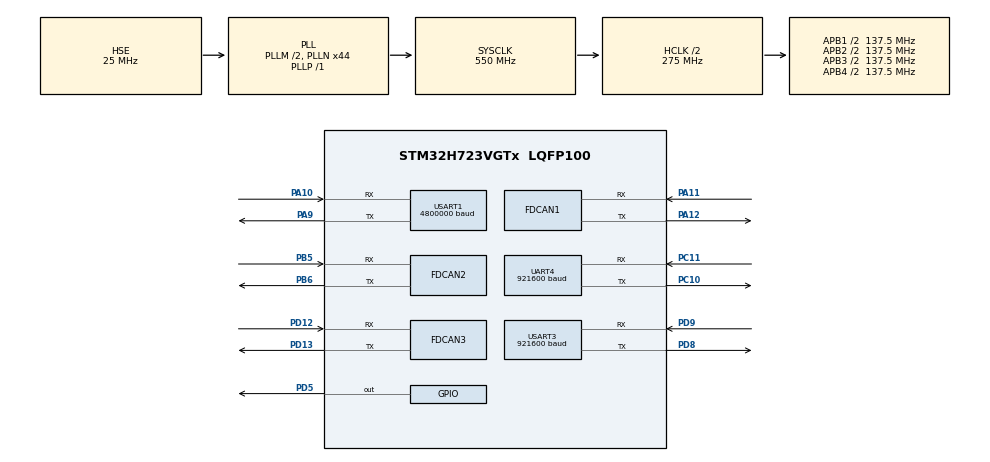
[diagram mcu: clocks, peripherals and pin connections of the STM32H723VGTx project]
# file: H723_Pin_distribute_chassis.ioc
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Dma.Request0=USART3_RX
Dma.Request1=USART3_TX
Dma.Request2=UART4_RX
Dma.Request3=UART4_TX
Dma.Request4=USART1_RX
Dma.Request5=USART1_TX
Dma.UART4_RX.2.Direction=DMA_PERIPH_TO_MEMORY
Dma.UART4_RX.2.EventEnable=DISABLE
Dma.UART4_RX.2.FIFOMode=DMA_FIFOMODE_DISABLE
Dma.UART4_RX.2.Instance=DMA2_Stream0
Dma.UART4_RX.2.MemDataAlignment=DMA_MDATAALIGN_BYTE
Dma.UART4_RX.2.MemInc=DMA_MINC_ENABLE
Dma.UART4_RX.2.Mode=DMA_NORMAL
Dma.UART4_RX.2.PeriphDataAlignment=DMA_PDATAALIGN_BYTE
Dma.UART4_RX.2.PeriphInc=DMA_PINC_DISABLE
Dma.UART4_RX.2.Polarity=HAL_DMAMUX_REQ_GEN_RISING
Dma.UART4_RX.2.Priority=DMA_PRIORITY_LOW
Dma.UART4_RX.2.RequestNumber=1
Dma.UART4_RX.2.SignalID=NONE
Dma.UART4_RX.2.SyncEnable=DISABLE
Dma.UART4_RX.2.SyncPolarity=HAL_DMAMUX_SYNC_NO_EVENT
Dma.UART4_RX.2.SyncRequestNumber=1
Dma.UART4_RX.2.SyncSignalID=NONE
Dma.UART4_TX.3.Direction=DMA_MEMORY_TO_PERIPH
Dma.UART4_TX.3.EventEnable=DISABLE
Dma.UART4_TX.3.FIFOMode=DMA_FIFOMODE_DISABLE
Dma.UART4_TX.3.Instance=DMA2_Stream1
Dma.UART4_TX.3.MemDataAlignment=DMA_MDATAALIGN_BYTE
Dma.UART4_TX.3.MemInc=DMA_MINC_ENABLE
Dma.UART4_TX.3.Mode=DMA_NORMAL
Dma.UART4_TX.3.PeriphDataAlignment=DMA_PDATAALIGN_BYTE
Dma.UART4_TX.3.PeriphInc=DMA_PINC_DISABLE
Dma.UART4_TX.3.Polarity=HAL_DMAMUX_REQ_GEN_RISING
Dma.UART4_TX.3.Priority=DMA_PRIORITY_LOW
Dma.UART4_TX.3.RequestNumber=1
Dma.UART4_TX.3.SignalID=NONE
Dma.UART4_TX.3.SyncEnable=DISABLE
Dma.UART4_TX.3.SyncPolarity=HAL_DMAMUX_SYNC_NO_EVENT
Dma.UART4_TX.3.SyncRequestNumber=1
Dma.UART4_TX.3.SyncSignalID=NONE
Dma.USART1_RX.4.Direction=DMA_PERIPH_TO_MEMORY
Dma.USART1_RX.4.EventEnable=DISABLE
Dma.USART1_RX.4.FIFOMode=DMA_FIFOMODE_DISABLE
Dma.USART1_RX.4.Instance=DMA1_Stream4
Dma.USART1_RX.4.MemDataAlignment=DMA_MDATAALIGN_BYTE
Dma.USART1_RX.4.MemInc=DMA_MINC_ENABLE
Dma.USART1_RX.4.Mode=DMA_NORMAL
Dma.USART1_RX.4.PeriphDataAlignment=DMA_PDATAALIGN_BYTE
Dma.USART1_RX.4.PeriphInc=DMA_PINC_DISABLE
Dma.USART1_RX.4.Polarity=HAL_DMAMUX_REQ_GEN_RISING
Dma.USART1_RX.4.Priority=DMA_PRIORITY_VERY_HIGH
Dma.USART1_RX.4.RequestNumber=1
Dma.USART1_RX.4.SignalID=NONE
Dma.USART1_RX.4.SyncEnable=DISABLE
Dma.USART1_RX.4.SyncPolarity=HAL_DMAMUX_SYNC_NO_EVENT
Dma.USART1_RX.4.SyncRequestNumber=1
Dma.USART1_RX.4.SyncSignalID=NONE
Dma.USART1_TX.5.Direction=DMA_MEMORY_TO_PERIPH
Dma.USART1_TX.5.EventEnable=DISABLE
Dma.USART1_TX.5.FIFOMode=DMA_FIFOMODE_DISABLE
Dma.USART1_TX.5.Instance=DMA1_Stream5
Dma.USART1_TX.5.MemDataAlignment=DMA_MDATAALIGN_BYTE
Dma.USART1_TX.5.MemInc=DMA_MINC_ENABLE
Dma.USART1_TX.5.Mode=DMA_NORMAL
Dma.USART1_TX.5.PeriphDataAlignment=DMA_PDATAALIGN_BYTE
Dma.USART1_TX.5.PeriphInc=DMA_PINC_DISABLE
Dma.USART1_TX.5.Polarity=HAL_DMAMUX_REQ_GEN_RISING
Dma.USART1_TX.5.Priority=DMA_PRIORITY_VERY_HIGH
Dma.USART1_TX.5.RequestNumber=1
Dma.USART1_TX.5.SignalID=NONE
Dma.USART1_TX.5.SyncEnable=DISABLE
Dma.USART1_TX.5.SyncPolarity=HAL_DMAMUX_SYNC_NO_EVENT
Dma.USART1_TX.5.SyncRequestNumber=1
Dma.USART1_TX.5.SyncSignalID=NONE
Dma.USART3_RX.0.Direction=DMA_PERIPH_TO_MEMORY
Dma.USART3_RX.0.EventEnable=DISABLE
Dma.USART3_RX.0.FIFOMode=DMA_FIFOMODE_DISABLE
Dma.USART3_RX.0.Instance=DMA1_Stream0
Dma.USART3_RX.0.MemDataAlignment=DMA_MDATAALIGN_BYTE
Dma.USART3_RX.0.MemInc=DMA_MINC_ENABLE
Dma.USART3_RX.0.Mode=DMA_NORMAL
Dma.USART3_RX.0.PeriphDataAlignment=DMA_PDATAALIGN_BYTE
Dma.USART3_RX.0.PeriphInc=DMA_PINC_DISABLE
Dma.USART3_RX.0.Polarity=HAL_DMAMUX_REQ_GEN_RISING
Dma.USART3_RX.0.Priority=DMA_PRIORITY_LOW
Dma.USART3_RX.0.RequestNumber=1
Dma.USART3_RX.0.SignalID=NONE
Dma.USART3_RX.0.SyncEnable=DISABLE
Dma.USART3_RX.0.SyncPolarity=HAL_DMAMUX_SYNC_NO_EVENT
Dma.USART3_RX.0.SyncRequestNumber=1
Dma.USART3_RX.0.SyncSignalID=NONE
Dma.USART3_TX.1.Direction=DMA_MEMORY_TO_PERIPH
Dma.USART3_TX.1.EventEnable=DISABLE
Dma.USART3_TX.1.FIFOMode=DMA_FIFOMODE_DISABLE
Dma.USART3_TX.1.Instance=DMA1_Stream1
Dma.USART3_TX.1.MemDataAlignment=DMA_MDATAALIGN_BYTE
Dma.USART3_TX.1.MemInc=DMA_MINC_ENABLE
Dma.USART3_TX.1.Mode=DMA_NORMAL
Dma.USART3_TX.1.PeriphDataAlignment=DMA_PDATAALIGN_BYTE
Dma.USART3_TX.1.PeriphInc=DMA_PINC_DISABLE
Dma.USART3_TX.1.Polarity=HAL_DMAMUX_REQ_GEN_RISING
Dma.USART3_TX.1.Priority=DMA_PRIORITY_LOW
Dma.USART3_TX.1.RequestNumber=1
Dma.USART3_TX.1.SignalID=NONE
Dma.USART3_TX.1.SyncEnable=DISABLE
Dma.USART3_TX.1.SyncPolarity=HAL_DMAMUX_SYNC_NO_EVENT
Dma.USART3_TX.1.SyncRequestNumber=1
Dma.USART3_TX.1.SyncSignalID=NONE
FDCAN1.AutoRetransmission=ENABLE
FDCAN1.CalculateBaudRateNominal=1000000
FDCAN1.CalculateTimeBitNominal=1000
FDCAN1.CalculateTimeQuantumNominal=40.0
FDCAN1.DataPrescaler=1
FDCAN1.DataSyncJumpWidth=6
FDCAN1.DataTimeSeg1=18
FDCAN1.DataTimeSeg2=6
FDCAN1.Mode=FDCAN_MODE_NORMAL
FDCAN1.NominalPrescaler=1
FDCAN1.NominalSyncJumpWidth=6
FDCAN1.NominalTimeSeg1=18
FDCAN1.NominalTimeSeg2=6
FDCAN1.RxFifo0ElmtsNbr=4
FDCAN1.StdFiltersNbr=1
FDCAN1.TxBuffersNbr=16
FDCAN1.TxFifoQueueElmtsNbr=16
FDCAN2.AutoRetransmission=ENABLE
FDCAN2.CalculateBaudRateNominal=1000000
FDCAN2.CalculateTimeBitNominal=1000
FDCAN2.CalculateTimeQuantumNominal=40.0
FDCAN2.DataSyncJumpWidth=6
FDCAN2.DataTimeSeg1=18
FDCAN2.DataTimeSeg2=6
FDCAN2.MessageRAMOffset=800
FDCAN2.NominalPrescaler=1
FDCAN2.NominalSyncJumpWidth=6
FDCAN2.NominalTimeSeg1=18
FDCAN2.NominalTimeSeg2=6
FDCAN2.RxFifo0ElmtsNbr=4
FDCAN2.StdFiltersNbr=1
FDCAN2.TxBuffersNbr=16
FDCAN2.TxFifoQueueElmtsNbr=16
FDCAN3.AutoRetransmission=DISABLE
FDCAN3.CalculateBaudRateNominal=1000000
FDCAN3.CalculateTimeBitNominal=1000
FDCAN3.CalculateTimeQuantumNominal=40.0
FDCAN3.DataSyncJumpWidth=6
FDCAN3.DataTimeSeg1=18
FDCAN3.DataTimeSeg2=6
FDCAN3.MessageRAMOffset=1600
FDCAN3.Mode=FDCAN_MODE_NORMAL
FDCAN3.NominalPrescaler=1
FDCAN3.NominalSyncJumpWidth=6
FDCAN3.NominalTimeSeg1=18
FDCAN3.NominalTimeSeg2=6
FDCAN3.RxFifo0ElmtsNbr=4
FDCAN3.StdFiltersNbr=1
FDCAN3.TxBuffersNbr=16
FDCAN3.TxFifoQueueElmtsNbr=16
FREERTOS.Tasks01=Task1,24,512,TASK1,Default,NULL,Dynamic,NULL,NULL;Task2,24,512,TASK2,Default,NULL,Dynamic,NULL,NULL;Task3,24,512,TASK3,Default,NULL,Dynamic,NULL,NULL;Task4,24,512,TASK4,Default,NULL,Dynamic,NULL,NULL;Task5,24,512,TASK5,Default,NULL,Dynamic,NULL,NULL;Task6,24,512,TASK6,Default,NULL,Dynamic,NULL,NULL
FREERTOS.configTOTAL_HEAP_SIZE=40960
Mcu.Family=STM32H7
Mcu.Name=STM32H723VGTx
Mcu.Package=LQFP100
NVIC.DMA1_Stream0_IRQn=true\:5\:0\:false\:false\:true\:true\:false\:true\:true
NVIC.DMA1_Stream1_IRQn=true\:5\:0\:false\:false\:true\:true\:false\:true\:true
NVIC.DMA1_Stream4_IRQn=true\:5\:0\:false\:false\:true\:true\:false\:true\:true
NVIC.DMA1_Stream5_IRQn=true\:5\:0\:false\:false\:true\:true\:false\:true\:true
NVIC.DMA2_Stream0_IRQn=true\:5\:0\:false\:false\:true\:true\:false\:true\:true
NVIC.DMA2_Stream1_IRQn=true\:5\:0\:false\:false\:true\:true\:false\:true\:true
NVIC.FDCAN1_IT0_IRQn=true\:5\:0\:false\:false\:true\:true\:true\:true\:true
NVIC.FDCAN2_IT0_IRQn=true\:5\:0\:false\:false\:true\:true\:true\:true\:true
NVIC.FDCAN3_IT0_IRQn=true\:5\:0\:false\:false\:true\:true\:true\:true\:true
NVIC.PriorityGroup=NVIC_PRIORITYGROUP_4
NVIC.TIM3_IRQn=true\:5\:0\:false\:false\:true\:true\:true\:true\:true
NVIC.TIM6_DAC_IRQn=true\:15\:0\:false\:false\:true\:false\:false\:true\:true
NVIC.TimeBase=TIM6_DAC_IRQn
NVIC.TimeBaseIP=TIM6
NVIC.UART4_IRQn=true\:5\:0\:false\:false\:true\:true\:true\:true\:true
NVIC.USART1_IRQn=true\:5\:0\:false\:false\:true\:true\:true\:true\:true
NVIC.USART3_IRQn=true\:5\:0\:false\:false\:true\:true\:true\:true\:true
PA10.GPIO_PuPd=GPIO_PULLUP
PA10.GPIO_Speed=GPIO_SPEED_FREQ_VERY_HIGH
PA10.Mode=Asynchronous
PA10.Signal=USART1_RX
PA11.GPIO_PuPd=GPIO_PULLUP
PA11.GPIO_Speed=GPIO_SPEED_FREQ_VERY_HIGH
PA11.Mode=FDCAN_Activate
PA11.Signal=FDCAN1_RX
PA12.GPIO_PuPd=GPIO_PULLUP
PA12.GPIO_Speed=GPIO_SPEED_FREQ_VERY_HIGH
PA12.Mode=FDCAN_Activate
PA12.Signal=FDCAN1_TX
PA13(JTMS/SWDIO).Mode=Serial_Wire
PA13(JTMS/SWDIO).Signal=DEBUG_JTMS-SWDIO
PA14(JTCK/SWCLK).Mode=Serial_Wire
PA14(JTCK/SWCLK).Signal=DEBUG_JTCK-SWCLK
PA3.Signal=S_TIM2_CH4
PA5.Signal=S_TIM2_CH1_ETR
PA9.GPIO_PuPd=GPIO_PULLUP
PA9.GPIO_Speed=GPIO_SPEED_FREQ_VERY_HIGH
PA9.Mode=Asynchronous
PA9.Signal=USART1_TX
PB5.GPIO_Speed=GPIO_SPEED_FREQ_VERY_HIGH
PB5.Mode=FDCAN_Activate
PB5.Signal=FDCAN2_RX
PB6.GPIO_Speed=GPIO_SPEED_FREQ_VERY_HIGH
PB6.Mode=FDCAN_Activate
PB6.Signal=FDCAN2_TX
PC10.GPIO_PuPd=GPIO_PULLUP
PC10.GPIO_Speed=GPIO_SPEED_FREQ_VERY_HIGH
PC10.Mode=Asynchronous
PC10.Signal=UART4_TX
PC11.GPIO_PuPd=GPIO_PULLUP
PC11.GPIO_Speed=GPIO_SPEED_FREQ_VERY_HIGH
PC11.Mode=Asynchronous
PC11.Signal=UART4_RX
PC6.GPIO_PuPd=GPIO_PULLUP
PC6.GPIO_Speed=GPIO_SPEED_FREQ_VERY_HIGH
PC6.Signal=USART6_TX
PC7.GPIO_PuPd=GPIO_PULLUP
PC7.GPIO_Speed=GPIO_SPEED_FREQ_VERY_HIGH
PC7.Signal=USART6_RX
PD12.GPIO_PuPd=GPIO_PULLUP
PD12.GPIO_Speed=GPIO_SPEED_FREQ_VERY_HIGH
PD12.Mode=FDCAN_Activate
PD12.Signal=FDCAN3_RX
PD13.GPIO_PuPd=GPIO_PULLUP
PD13.GPIO_Speed=GPIO_SPEED_FREQ_VERY_HIGH
PD13.Mode=FDCAN_Activate
PD13.Signal=FDCAN3_TX
PD5.GPIO_PuPd=GPIO_PULLUP
PD5.GPIO_Speed=GPIO_SPEED_FREQ_VERY_HIGH
PD5.PinState=GPIO_PIN_SET
PD5.Signal=GPIO_Output
PD6.GPIO_PuPd=GPIO_PULLUP
PD6.GPIO_Speed=GPIO_SPEED_FREQ_VERY_HIGH
PD6.Signal=USART2_RX
PD8.GPIO_PuPd=GPIO_PULLUP
PD8.GPIO_Speed=GPIO_SPEED_FREQ_VERY_HIGH
PD8.Mode=Asynchronous
PD8.Signal=USART3_TX
PD9.GPIO_PuPd=GPIO_PULLUP
PD9.GPIO_Speed=GPIO_SPEED_FREQ_VERY_HIGH
PD9.Mode=Asynchronous
PD9.Signal=USART3_RX
PE11.Signal=S_TIM1_CH2
PE13.Signal=S_TIM1_CH3
PE7.GPIO_PuPd=GPIO_PULLUP
PE7.GPIO_Speed=GPIO_SPEED_FREQ_VERY_HIGH
PE7.Signal=UART7_RX
PE8.GPIO_PuPd=GPIO_PULLUP
PE8.GPIO_Speed=GPIO_SPEED_FREQ_VERY_HIGH
PE8.Signal=UART7_TX
PH0-OSC_IN.Mode=HSE-External-Oscillator
PH0-OSC_IN.Signal=RCC_OSC_IN
PH1-OSC_OUT.Mode=HSE-External-Oscillator
PH1-OSC_OUT.Signal=RCC_OSC_OUT
ProjectManager.HeapSize=0x200
ProjectManager.StackSize=0x400
ProjectManager.TargetToolchain=MDK-ARM V5.32
RCC.ADCFreq_Value=50390625
RCC.APB1Freq_Value=137500000
RCC.APB2Freq_Value=137500000
RCC.APB3Freq_Value=137500000
RCC.APB4Freq_Value=137500000
RCC.CortexFreq_Value=550000000
RCC.D1PPRE=RCC_APB3_DIV2
RCC.D2PPRE1=RCC_APB1_DIV2
RCC.D2PPRE2=RCC_APB2_DIV2
RCC.D3PPRE=RCC_APB4_DIV2
RCC.DIVM1=2
RCC.DIVN1=44
RCC.DIVP1=1
RCC.DIVQ1=4
RCC.FDCANCLockSelection=RCC_FDCANCLKSOURCE_HSE
RCC.HCLKFreq_Value=275000000
RCC.HPRE=RCC_HCLK_DIV2
RCC.PLL2FRACN=0
RCC.PLL3FRACN=0
RCC.PLLFRACN=0
RCC.PLLSourceVirtual=RCC_PLLSOURCE_HSE
RCC.SYSCLKFreq_VALUE=550000000
RCC.SYSCLKSource=RCC_SYSCLKSOURCE_PLLCLK
RCC.USBFreq_Value=137500000
SH.S_TIM1_CH2.0=TIM1_CH2
SH.S_TIM1_CH3.0=TIM1_CH3
SH.S_TIM2_CH1_ETR.0=TIM2_CH1
SH.S_TIM2_CH4.0=TIM2_CH4
TIM3.AutoReloadPreload=TIM_AUTORELOAD_PRELOAD_ENABLE
TIM3.Period=999
TIM3.Prescaler=274
UART4.BaudRate=921600
USART1.BaudRate=4800000
USART1.OverSampling=UART_OVERSAMPLING_8
USART1.VirtualMode-Asynchronous=VM_ASYNC
USART3.BaudRate=921600
USART3.VirtualMode-Asynchronous=VM_ASYNC
VP_FREERTOS_VS_CMSIS_V2.Mode=CMSIS_V2
VP_MEMORYMAP_VS_MEMORYMAP.Mode=CurAppReg
VP_SYS_VS_tim6.Mode=TIM6
VP_TIM3_VS_ClockSourceINT.Mode=Internal
board=custom

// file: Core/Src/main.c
/* USER CODE BEGIN Header */
/**
 ******************************************************************************
 * @file           : main.c
 * @brief          : Main program body
 ******************************************************************************
 * @attention
 *
 * Copyright (c) 2026 STMicroelectronics.
 * All rights reserved.
 *
 * This software is licensed under terms that can be found in the LICENSE file
 * in the root directory of this software component.
 * If no LICENSE file comes with this software, it is provided AS-IS.
 *
 ******************************************************************************
 */
/* USER CODE END Header */
#include "main.h"
#include "cmsis_os.h"
#include "dma.h"
#include "fdcan.h"
#include "tim.h"
#include "usart.h"
#include "gpio.h"

/* USER CODE BEGIN Includes */
#include "GravityCompensation.h"
#include "ROBOT.h"
#include "CAN_Bsp.h"
#include "dm_motor.h"
#include "DJI_motor.h"
#include "J60_motor.h"
#include "StateMachine.h"
#include "MathAlgorithm.h"
#include "unitree_motor.h"
/* USER CODE END Includes */

void SystemClock_Config(void);
void MX_FREERTOS_Init(void);

int main(void)
{

  /* MCU Configuration--------------------------------------------------------*/

  /* Reset of all peripherals, Initializes the Flash interface and the Systick. */
  HAL_Init();

  /* Configure the system clock */
  SystemClock_Config();

  /* Initialize all configured peripherals */
  MX_GPIO_Init();
  MX_DMA_Init();
  MX_FDCAN1_Init();
  MX_FDCAN3_Init();
  MX_UART4_Init();
  MX_USART3_UART_Init();
  MX_TIM3_Init();
  MX_USART1_UART_Init();
  MX_FDCAN2_Init();
  /* USER CODE BEGIN 2 */
  CAN_INIT();
  HAL_TIM_Base_Start_IT(&htim3);
  HAL_UART_Receive_DMA(&huart1, usartBufForA1, 78);
  HAL_UART_Receive_DMA(&huart4, RxBufFromZGT, 6);

  // Deep_Init(&Gimbal_J60, &Gimbal_J60_CMD);
  // dm_motor_enable(&hfdcan1, &stretch_DM);
  // DJIMotorStart();
  /* USER CODE END 2 */

  /* Init scheduler */
  osKernelInitialize(); /* Call init function for freertos objects (in cmsis_os2.c) */
  MX_FREERTOS_Init();

  /* Start scheduler */
  osKernelStart();

  /* We should never get here as control is now taken by the scheduler */

  /* Infinite loop */
  while (1)
  {

  }
}

void SystemClock_Config(void)
{
  RCC_OscInitTypeDef RCC_OscInitStruct = {0};
  RCC_ClkInitTypeDef RCC_ClkInitStruct = {0};

  /** Supply configuration update enable
   */
  HAL_PWREx_ConfigSupply(PWR_LDO_SUPPLY);

  /** Configure the main internal regulator output voltage
   */
  __HAL_PWR_VOLTAGESCALING_CONFIG(PWR_REGULATOR_VOLTAGE_SCALE0);

  while (!__HAL_PWR_GET_FLAG(PWR_FLAG_VOSRDY))
  {
  }

  /** Initializes the RCC Oscillators according to the specified parameters
   * in the RCC_OscInitTypeDef structure.
   */
  RCC_OscInitStruct.OscillatorType = RCC_OSCILLATORTYPE_HSE;
  RCC_OscInitStruct.HSEState = RCC_HSE_ON;
  RCC_OscInitStruct.PLL.PLLState = RCC_PLL_ON;
  RCC_OscInitStruct.PLL.PLLSource = RCC_PLLSOURCE_HSE;
  RCC_OscInitStruct.PLL.PLLM = 2;
  RCC_OscInitStruct.PLL.PLLN = 44;
  RCC_OscInitStruct.PLL.PLLP = 1;
  RCC_OscInitStruct.PLL.PLLQ = 4;
  RCC_OscInitStruct.PLL.PLLR = 2;
  RCC_OscInitStruct.PLL.PLLRGE = RCC_PLL1VCIRANGE_3;
  RCC_OscInitStruct.PLL.PLLVCOSEL = RCC_PLL1VCOWIDE;
  RCC_OscInitStruct.PLL.PLLFRACN = 0;
  if (HAL_RCC_OscConfig(&RCC_OscInitStruct) != HAL_OK)
  {
    Error_Handler();
  }

  /** Initializes the CPU, AHB and APB buses clocks
   */
  RCC_ClkInitStruct.ClockType = RCC_CLOCKTYPE_HCLK | RCC_CLOCKTYPE_SYSCLK | RCC_CLOCKTYPE_PCLK1 | RCC_CLOCKTYPE_PCLK2 | RCC_CLOCKTYPE_D3PCLK1 | RCC_CLOCKTYPE_D1PCLK1;
  RCC_ClkInitStruct.SYSCLKSource = RCC_SYSCLKSOURCE_PLLCLK;
  RCC_ClkInitStruct.SYSCLKDivider = RCC_SYSCLK_DIV1;
  RCC_ClkInitStruct.AHBCLKDivider = RCC_HCLK_DIV2;
  RCC_ClkInitStruct.APB3CLKDivider = RCC_APB3_DIV2;
  RCC_ClkInitStruct.APB1CLKDivider = RCC_APB1_DIV2;
  RCC_ClkInitStruct.APB2CLKDivider = RCC_APB2_DIV2;
  RCC_ClkInitStruct.APB4CLKDivider = RCC_APB4_DIV2;

  if (HAL_RCC_ClockConfig(&RCC_ClkInitStruct, FLASH_LATENCY_3) != HAL_OK)
  {
    Error_Handler();
  }
}

/* USER CODE BEGIN 4 */
void HAL_FDCAN_ErrorStatusCallback(FDCAN_HandleTypeDef *hfdcan, uint32_t ErrorStatusI)
{
  // 判断是否是 Bus Off 错误
  if (ErrorStatusI & FDCAN_IT_BUS_OFF)
  {
    // 获取协议状态，确认确实进入 Bus Off
    FDCAN_ProtocolStatusTypeDef ProtocolStatus = {0};
    HAL_FDCAN_GetProtocolStatus(hfdcan, &ProtocolStatus);

    if (ProtocolStatus.BusOff == 1)
    {
      // 核心操作：清除 CCCR 寄存器的 INIT 位
      // 硬件会自动完成后续的恢复序列（等待129次11个隐性位）
      hfdcan->Instance->CCCR &= ~FDCAN_CCCR_INIT;

      // 可选：记录一次离线恢复事件，便于调试
      // BusOff_Recovery_Count++;
    }
  }
}
/* USER CODE END 4 */

void HAL_TIM_PeriodElapsedCallback(TIM_HandleTypeDef *htim)
{
  if (htim->Instance == TIM6)
  {
    HAL_IncTick();
  }
}

void Error_Handler(void)
{
  __disable_irq();
  while (1)
  {
  }
}

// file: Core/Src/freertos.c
/* USER CODE BEGIN Header */
/**
 ******************************************************************************
 * File Name          : freertos.c
 * Description        : Code for freertos applications
 ******************************************************************************
 * @attention
 *
 * Copyright (c) 2026 STMicroelectronics.
 * All rights reserved.
 *
 * This software is licensed under terms that can be found in the LICENSE file
 * in the root directory of this software component.
 * If no LICENSE file comes with this software, it is provided AS-IS.
 *
 ******************************************************************************
 */
/* USER CODE END Header */

#include "FreeRTOS.h"
#include "task.h"
#include "main.h"
#include "cmsis_os.h"

/* USER CODE BEGIN Includes */
#include "fdcan.h"
#include "usart.h"
#include "GravityCompensation.h"
#include "ROBOT.h"
#include "CAN_Bsp.h"
#include "dm_motor.h"
#include "DJI_motor.h"
#include "J60_motor.h"
#include "StateMachine.h"
#include "MathAlgorithm.h"
#include "unitree_motor.h"
#include "withinBoardCommunication.h"
/* USER CODE END Includes */

/* USER CODE BEGIN Variables */
float g_current = 0.f;
/* USER CODE END Variables */
/* Definitions for Task1 */
osThreadId_t Task1Handle;
const osThreadAttr_t Task1_attributes = {
    .name = "Task1",
    .stack_size = 512 * 4,
    .priority = (osPriority_t)osPriorityNormal,
};
/* Definitions for Task2 */
osThreadId_t Task2Handle;
const osThreadAttr_t Task2_attributes = {
    .name = "Task2",
    .stack_size = 512 * 4,
    .priority = (osPriority_t)osPriorityNormal,
};
/* Definitions for Task3 */
osThreadId_t Task3Handle;
const osThreadAttr_t Task3_attributes = {
    .name = "Task3",
    .stack_size = 512 * 4,
    .priority = (osPriority_t)osPriorityNormal,
};
/* Definitions for Task4 */
osThreadId_t Task4Handle;
const osThreadAttr_t Task4_attributes = {
    .name = "Task4",
    .stack_size = 512 * 4,
    .priority = (osPriority_t)osPriorityNormal,
};
/* Definitions for Task5 */
osThreadId_t Task5Handle;
const osThreadAttr_t Task5_attributes = {
    .name = "Task5",
    .stack_size = 512 * 4,
    .priority = (osPriority_t)osPriorityNormal,
};
/* Definitions for Task6 */
osThreadId_t Task6Handle;
const osThreadAttr_t Task6_attributes = {
    .name = "Task6",
    .stack_size = 512 * 4,
    .priority = (osPriority_t)osPriorityNormal,
};

void TASK1(void *argument);
void TASK2(void *argument);
void TASK3(void *argument);
void TASK4(void *argument);
void TASK5(void *argument);
void TASK6(void *argument);

void MX_FREERTOS_Init(void); /* (MISRA C 2004 rule 8.1) */

void MX_FREERTOS_Init(void)
{

  /* Create the thread(s) */
  /* creation of Task1 */
  Task1Handle = osThreadNew(TASK1, NULL, &Task1_attributes);

  /* creation of Task2 */
  Task2Handle = osThreadNew(TASK2, NULL, &Task2_attributes);

  /* creation of Task3 */
  Task3Handle = osThreadNew(TASK3, NULL, &Task3_attributes);

  /* creation of Task4 */
  Task4Handle = osThreadNew(TASK4, NULL, &Task4_attributes);

  /* creation of Task5 */
  Task5Handle = osThreadNew(TASK5, NULL, &Task5_attributes);

  /* creation of Task6 */
  Task6Handle = osThreadNew(TASK6, NULL, &Task6_attributes);

}

void TASK1(void *argument)
{
  /* USER CODE BEGIN TASK1 */
  /* Infinite loop */
  for (;;)
  {
    // myStateMachine();
    system_monitor.cntMonitor.StateMachineTask++;
    osDelay(1);
  }
  /* USER CODE END TASK1 */
}

void TASK2(void *argument)
{
  /* USER CODE BEGIN TASK2 */
  /* Infinite loop */
  for (;;)
  {
    DJIMotorControl(&stretch_2006);
    DJIMotorControl(&DJI_3508);
    airOperator.airOperatorTx = bin_array_to_u8(airOperator.airOperatorTxBuf);
    system_monitor.cntMonitor.PIDCalcTask++;
    osDelay(1);
  }
  /* USER CODE END TASK2 */
}

void TASK3(void *argument)
{
  /* USER CODE BEGIN TASK3 */
  /* Infinite loop */
  for (;;)
  {
    //    gravityCompensation();
    system_monitor.cntMonitor.GravityCompensationTask++;
    osDelay(1);
  }
  /* USER CODE END TASK3 */
}

void TASK4(void *argument)
{
  /* USER CODE BEGIN TASK4 */
  // Gimbal_J60_CMD.kp_ = 230;
  // Gimbal_J60_CMD.kd_ = 10;
  Gimbal_J60_CMD.kp_ = 0;
  Gimbal_J60_CMD.kd_ = 0;
  Gimbal_J60_CMD.torque_ = 0;
  Gimbal_J60_CMD.position_ = -0.22f;
  Gimbal_J60_CMD.motor_id_ = 1;

  // stretch_DM.ctrl.kp_set = 30;
  // stretch_DM.ctrl.kd_set = 1.2f;
  stretch_DM.ctrl.kp_set = 0;
  stretch_DM.ctrl.kd_set = 0;
  stretch_DM.ctrl.pos_set = 2.26f; //-1.97f;

  airOperator.airOperatorTxBuf[0] = 0;
  airOperator.airOperatorTxBuf[1] = 0;
  airOperator.airOperatorTxBuf[2] = 0;
  airOperator.airOperatorTxBuf[3] = 0;
  airOperator.airOperatorTxBuf[4] = 0;
  /* Infinite loop */
  for (;;)
  {
    SetMotionCMD(&Gimbal_J60_CMD, Gimbal_J60.motor_id_, 4, Gimbal_J60_CMD.position_, Gimbal_J60_CMD.velocity_, Gimbal_J60_CMD.torque_, Gimbal_J60_CMD.kp_, Gimbal_J60_CMD.kd_);
    Gimbal_J60_CMD.cmd_ = 4;
    // CAN_Send_DeepMsg(&Gimbal_J60_CMD);

    // mit_ctrl(&hfdcan1, &stretch_DM, stretch_DM.id, stretch_DM.ctrl.pos_set, stretch_DM.ctrl.vel_set, stretch_DM.ctrl.kp_set, stretch_DM.ctrl.kd_set, gTorqueDM);

    // CAN_Sendcurrent(&hfdcan1, 0x200, 0, stretch_2006.motor_current + g_current, 0, 0);

    // CAN_Sendcurrent(&hfdcan2, 0x200, DJI_3508.motor_current, 0, 0, 0);

    // CANx_SendstdData(&hfdcan2, 0x300, &airOperator.airOperatorTx, sizeof(uint8_t));
    system_monitor.cntMonitor.MotorControlTask++;
    osDelay(1);
  }
  /* USER CODE END TASK4 */
}

/* USER CODE BEGIN Header_TASK5 */
/**
 * @brief Function implementing the Task5 thread.
 * @param argument: Not used
 * @retval None
 */
void HAL_UART_TxCpltCallback(UART_HandleTypeDef *huart)
{

}
/* USER CODE END Header_TASK5 */
void TASK5(void *argument)
{
  /* USER CODE BEGIN TASK5 */
  Motor_A1.Ctrl_Data.ID = 0x01;
  Motor_A1.Ctrl_Data.mode = 0x0A;
  // Motor_A1.Ctrl_Data.K_P = 1.2f;  // 0.16f;
  // Motor_A1.Ctrl_Data.K_W = 12.0f; // 0.5f;
  Motor_A1.Ctrl_Data.K_P = 0.f;  // 0.16f;
  Motor_A1.Ctrl_Data.K_W = 0.0f; // 0.5f;
  Motor_A1.Ctrl_Data.T = 0;
  Motor_A1.Rec_Data.ID = 1;
  Motor_A1.TargetPos = 0.05f;
  /* Infinite loop */
  for (;;)
  {
    PackDataToZGT();

      HAL_UART_Transmit_DMA(&huart4, TxBufToZGT, 6);

    // Motor_A1.Ctrl_Data.T = gTorqueA1;
    Motor_A1.Ctrl_Data.T = 0;
    HAL_GPIO_WritePin(GPIOD, GPIO_PIN_5, GPIO_PIN_SET);
    motor_A1_cmd(&Motor_A1);
    system_monitor.cntMonitor.WithinBoardCommunicateTask++;
    osDelay(2);
  }
  /* USER CODE END TASK5 */
}

void TASK6(void *argument)
{
  for (;;)
  {
    osDelay(1);
  }
}
